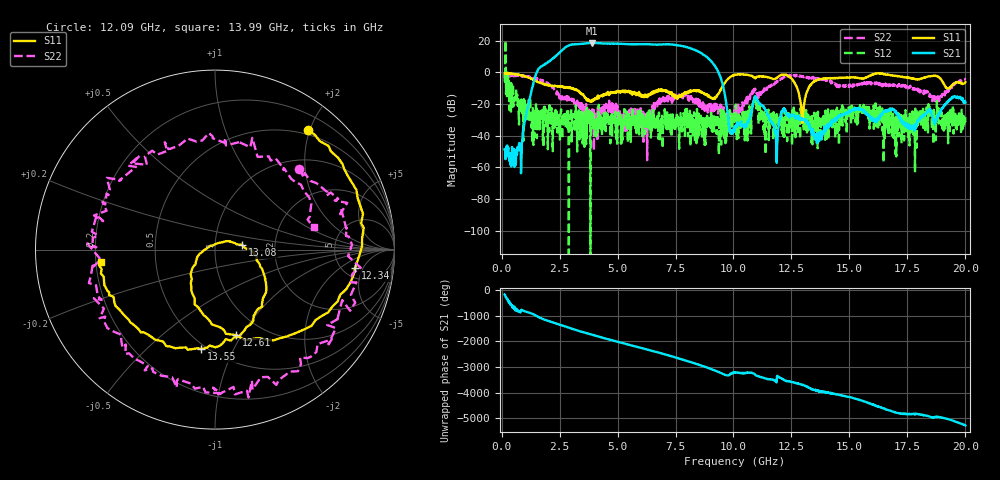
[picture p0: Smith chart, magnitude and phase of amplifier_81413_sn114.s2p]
!Created with skrf (http://scikit-rf.org).
# GHz S RI R 50.0
!freq ReS11 ImS11 ReS21 ImS21 ReS12 ImS12 ReS22 ImS22
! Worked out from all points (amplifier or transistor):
!   1601 points, 130 MHz to 20 GHz, reference 50 ohm
!   highest |S21| = 18.7 dB at 3.88 GHz (marker M1)
!   |S21| within 3 dB of that: 2.733 GHz to 8.055 GHz (5.322 GHz wide, 98.7 % of centre)
!   unconditionally stable (mu >= 1): start of sweep to 159.5 MHz; 172.3 MHz to end of sweep
!   at 3.433 GHz: K = 1.26, MAG = 18.3 dB, |S12| = -24.7 dB
!   at 10.06 GHz: K = 225.63, MAG = -30.3 dB, |S12| = -28.1 dB
!   at 20 GHz: K = 50.74, MAG = -15.9 dB, |S12| = -27.3 dB
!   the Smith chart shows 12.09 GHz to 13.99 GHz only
!   S11 on the Smith chart (normalised r, x): 12.09 GHz: 0.43, +1.97; 12.34 GHz: 6.46, -3.49; 12.61 GHz: 0.76, -0.95; 13.08 GHz: 1.35, +0.07; 13.55 GHz: 0.47, -0.76; 13.99 GHz: 0.22, -0.05
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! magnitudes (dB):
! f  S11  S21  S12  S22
! 130 MHz  -0.4  -48.6  -0.9  -3.6
! 800.6 MHz  -1.8  -47.2  -17.9  -2.6
! 1.608 GHz  -6.1  2.6  -24.3  -4.2
! 3.446 GHz  -13.3  18.0  -37.6  -21.8
! 3.88 GHz  -18.3  18.7  -29.3  -29.1
! 6.215 GHz  -15.4  17.8  -26.1  -36.6
! 6.762 GHz  -12.0  17.5  -42.0  -21.1
! 9.022 GHz  -16.1  7.3  -32.0  -19.9
! 10.06 GHz  -1.5  -35.6  -28.1  -21.3
! 10.96 GHz  -3.2  -15.3  -20.0  -12.4
! 11.83 GHz  -3.9  -38.4  -26.8  -6.1
! 12.09 GHz  -1.5  -24.7  -30.5  -3.8
! 12.34 GHz  -2.1  -27.1  -34.5  -1.7
! 12.61 GHz  -6.2  -26.6  -28.9  -2.0
! 13.08 GHz  -16.3  -29.7  -32.0  -2.9
! 13.38 GHz  -6.9  -39.2  -26.9  -3.6
! 13.55 GHz  -5.0  -42.4  -31.6  -4.2
! 13.99 GHz  -3.9  -35.5  -29.6  -5.0
! 16.7 GHz  -1.4  -23.9  -25.6  -7.6
! 17.7 GHz  -3.9  -35.1  -35.3  -9.9
! 18.78 GHz  -2.3  -27.5  -25.3  -15.8
! 20 GHz  -6.2  -19.0  -27.3  -4.5
